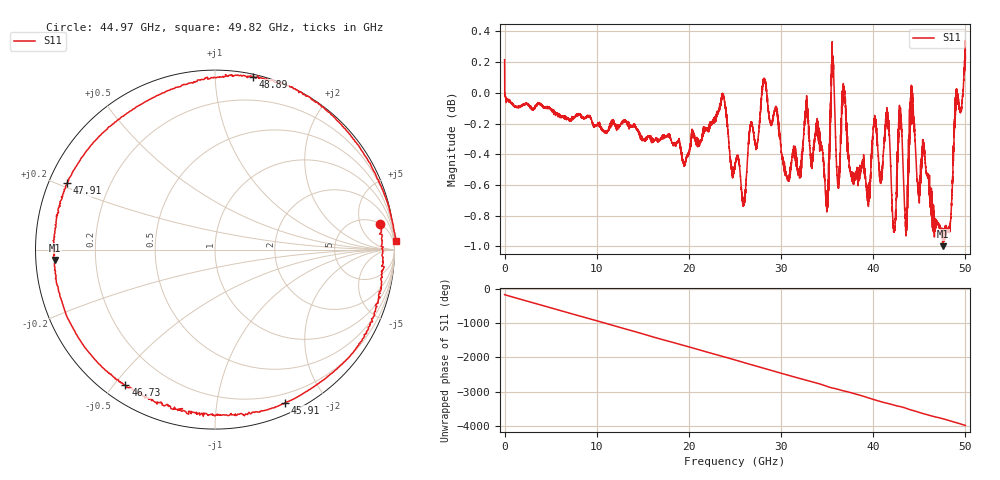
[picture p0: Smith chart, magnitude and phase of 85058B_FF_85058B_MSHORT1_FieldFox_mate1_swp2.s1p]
!Created with skrf (http://scikit-rf.org).
# Hz S RI R 50.0
!freq ReS11 ImS11
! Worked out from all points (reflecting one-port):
!   10001 points, 300 kHz to 50 GHz, reference 50 ohm
!   lowest |S11| = -1.0 dB at 47.54 GHz (marker M1), VSWR 17.42, Z = 2.87 - j1.61 ohm
!   phase of S11 starts at -175 deg and turns -3797 deg over the sweep
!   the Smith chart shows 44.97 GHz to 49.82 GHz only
!   S11 on the Smith chart (normalised r, x): 44.97 GHz: 5, +11; 45.91 GHz: 0.11, -1.55; 46.73 GHz: 0.06, -0.54; 47.91 GHz: 0.05, +0.21; 48.89 GHz: 0.02, +1.25; 49.82 GHz: -8, +39
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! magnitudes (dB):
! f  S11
! 300 kHz  0.2
! 6.25 GHz  -0.2
! 12.5 GHz  -0.2
! 18.75 GHz  -0.3
! 23.68 GHz  0.0
! 25 GHz  -0.5
! 25.97 GHz  -0.7
! 28.18 GHz  0.1
! 31.25 GHz  -0.4
! 32.77 GHz  -0.1
! 34.94 GHz  -0.7
! 35.6 GHz  0.1
! 36.15 GHz  -0.6
! 36.82 GHz  0.0
! 37.5 GHz  -0.5
! 41.53 GHz  -0.1
! 42.28 GHz  -0.9
! 42.92 GHz  -0.1
! 43.75 GHz  -0.6
! 44.19 GHz  -0.2
! 44.97 GHz  -0.7
! 45.91 GHz  -0.5
! 46.73 GHz  -0.9
! 47.54 GHz  -1.0
! 47.91 GHz  -0.9
! 48.89 GHz  -0.1
! 49.82 GHz  0.1
! 50 GHz  0.2
